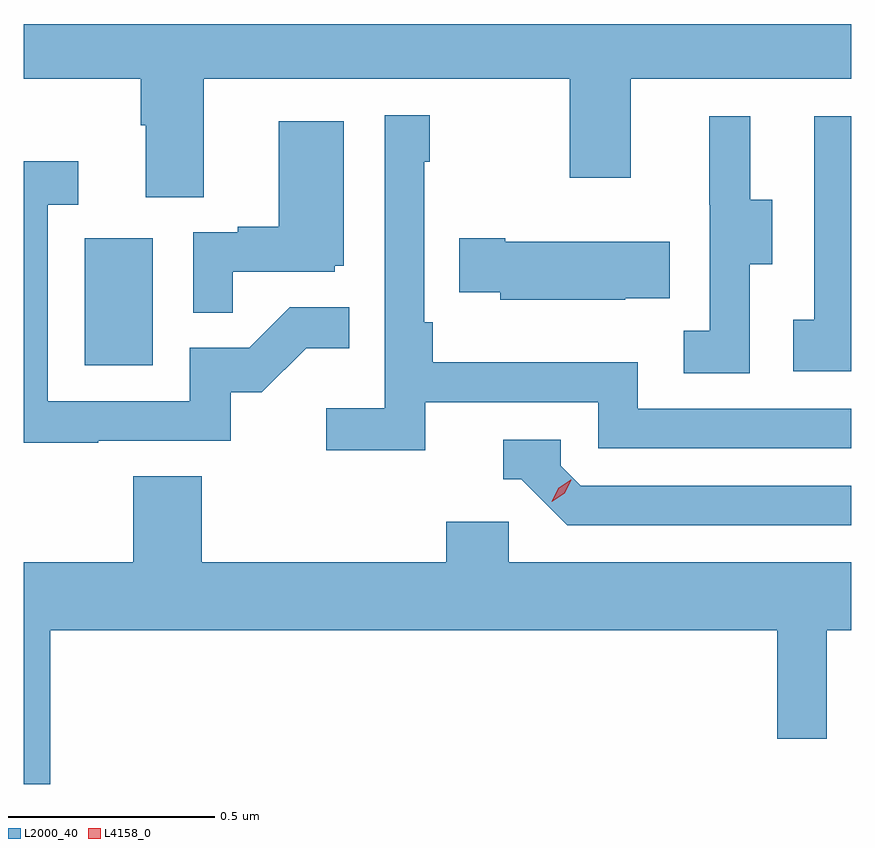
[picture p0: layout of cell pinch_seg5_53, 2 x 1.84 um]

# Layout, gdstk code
import gdstk
lib = gdstk.Library(unit=1e-6, precision=1e-09)
def R(c, l, rs):  # rectangles x0, y0, x1, y1
    for r in rs: c.add(gdstk.rectangle(r[:2], r[2:], *l))
def P(c, l, *ps):  # polygons
    for p in ps: c.add(gdstk.Polygon(p, *l))
L2000_40 = (2000, 40)
L4158_0 = (4158, 0)

pinch_seg5_53 = lib.new_cell('pinch_seg5_53')
R(pinch_seg5_53, L2000_40, [(1101.938,914.676,1102.102,914.983)])
P(pinch_seg5_53, L2000_40, [(1102.225,915.368),(1103.11,915.368),(1103.11,915.129),(1103.257,915.129),(1103.257,915.368),(1103.79,915.368),(1103.79,915.5),(1101.79,915.5),(1101.79,915.368),(1102.073,915.368),(1102.073,915.256),(1102.085,915.256),(1102.085,915.082),(1102.225,915.082)],
  [(1102.76,914.586),(1103.178,914.586),(1103.178,914.475),(1103.79,914.475),(1103.79,914.571),(1103.274,914.571),(1103.274,914.683),(1102.778,914.683),(1102.778,914.779),(1102.758,914.779),(1102.758,915.167),(1102.771,915.167),(1102.771,915.28),(1102.662,915.28),(1102.662,914.572),(1102.521,914.572),(1102.521,914.47),(1102.76,914.47)],
  [(1103.544,914.92),(1103.599,914.92),(1103.599,915.075),(1103.545,915.075),(1103.545,915.277),(1103.447,915.277),(1103.447,915.063),(1103.448,915.063),(1103.448,914.759),(1103.385,914.759),(1103.385,914.656),(1103.544,914.656)],
  [(1103.79,915.277),(1103.7,915.277),(1103.7,914.786),(1103.649,914.786),(1103.649,914.661),(1103.79,914.661)],
  [(1102.295,914.901),(1102.542,914.901),(1102.542,914.916),(1102.564,914.916),(1102.564,915.265),(1102.406,915.265),(1102.406,915.01),(1102.307,915.01),(1102.307,914.997),(1102.2,914.997),(1102.2,914.803),(1102.295,914.803)],
  [(1101.971,914.493),(1102.29,914.493),(1102.29,914.61),(1102.366,914.61),(1102.473,914.717),(1102.577,914.717),(1102.577,914.816),(1102.433,914.816),(1102.335,914.718),(1102.191,914.718),(1102.191,914.589),(1101.849,914.589),(1101.849,915.063),(1101.922,915.063),(1101.922,915.169),(1101.79,915.169),(1101.79,914.488),(1101.971,914.488)],
  [(1103.243,914.837),(1103.351,914.837),(1103.351,914.974),(1102.954,914.974),(1102.954,914.982),(1102.843,914.982),(1102.843,914.852),(1102.941,914.852),(1102.941,914.834),(1103.243,914.834)],
  [(1103.79,914.385),(1103.136,914.385),(1103.088,914.433),(1103.088,914.496),(1102.949,914.496),(1102.949,914.4),(1102.992,914.4),(1103.103,914.289),(1103.79,914.289)],
  [(1101.854,914.036),(1103.611,914.036),(1103.611,913.773),(1103.73,913.773),(1103.73,914.036),(1103.79,914.036),(1103.79,914.2),(1102.962,914.2),(1102.962,914.298),(1102.811,914.298),(1102.811,914.2),(1102.22,914.2),(1102.22,914.408),(1102.055,914.408),(1102.055,914.2),(1101.79,914.2),(1101.79,913.664),(1101.854,913.664)])
P(pinch_seg5_53, L4158_0, [(1103.066,914.346),(1103.066,914.346),(1103.082,914.379),(1103.112,914.399),(1103.113,914.399),(1103.113,914.398),(1103.097,914.366),(1103.066,914.346)])

lib.write_gds('pinch_seg5_53.gds')
